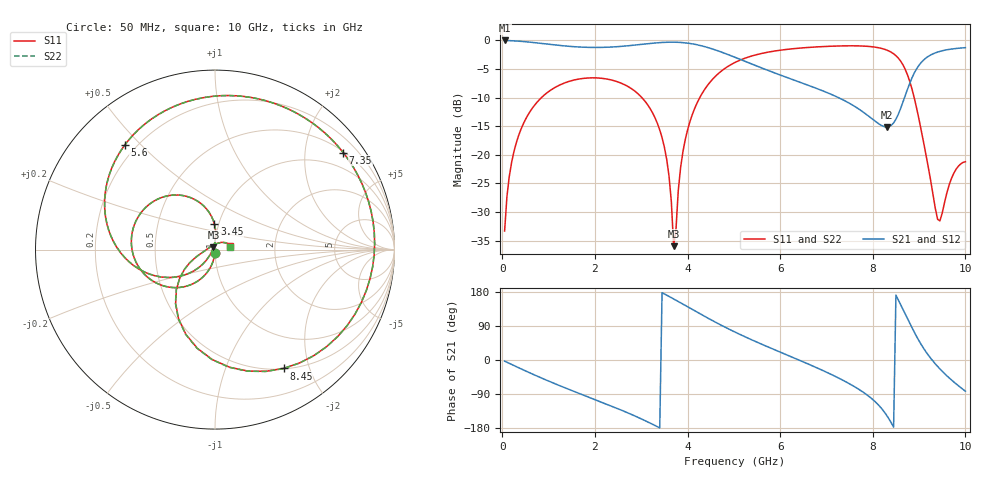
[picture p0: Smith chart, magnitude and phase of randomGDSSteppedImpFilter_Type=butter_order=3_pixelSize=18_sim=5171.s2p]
! freq	dB(S11)	phase(S11)	dB(S12)	phase(S12)
!  dB(S21)	phase(S21)	dB(S22)	phase(S22)
!S-par simulation data
#  GHz  S  DB  R 50
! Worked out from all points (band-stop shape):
!   200 points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, 50 MHz to 10 GHz, reference 50 ohm
!   highest |S21| = 0.00 dB at 50 MHz (marker M1); lowest = -15.1 dB at 8.3 GHz (marker M2)
!   |S21| within 3 dB of the highest: start of sweep to 5.042 GHz; 9.161 GHz to end of sweep
!   lowest |S11| = -36.0 dB at 3.7 GHz (marker M3), VSWR 1.03, Z = 49.1 + j1.31 ohm
!   |S11| at or under -10 dB: start of sweep to 845.2 MHz; 3.014 GHz to 4.265 GHz (1.25 GHz wide, 34.4 % of centre); 8.894 GHz to end of sweep
!   |S22| runs from -35.9 to -0.9 dB; largest |S21 - S12| = 0
!   S11 on the Smith chart (normalised r, x): 50 MHz: 1.00, -0.04; 3.45 GHz: 0.96, +0.28; 5.6 GHz: 0.16, +0.45; 7.35 GHz: 0.53, +2.89; 8.45 GHz: 0.51, -1.61; 10 GHz: 1.19, +0.04
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0.05  -33.33 -93.0  -0.00 -2.9  -0.00 -2.9  -33.33 -93.0
0.2  -21.37 -102.0  -0.05 -11.7  -0.05 -11.7  -21.37 -102.0
0.5  -13.82 -119.3  -0.23 -28.7  -0.23 -28.7  -13.82 -119.3
1.75  -6.64 177.1  -1.19 -92.5  -1.19 -92.5  -6.64 177.1
3.4  -15.65 93.6  -0.38 -179.2  -0.38 -179.2  -15.65 93.7
3.45  -17.00 91.2  -0.36 177.6  -0.36 177.6  -17.00 91.2
3.6  -23.69 87.3  -0.31 167.8  -0.31 167.8  -23.68 87.4
3.7  -35.97 122.8  -0.30 161.2  -0.30 161.2  -35.89 123.0
3.85  -22.26 -129.1  -0.35 151.0  -0.35 151.0  -22.26 -129.3
4.1  -13.03 -140.3  -0.59 133.7  -0.59 133.7  -13.03 -140.5
5.05  -3.75 160.9  -3.03 72.2  -3.03 72.2  -3.75 160.8
5.6  -2.28 130.9  -4.81 41.7  -4.81 41.7  -2.28 130.8
6.7  -1.17 74.2  -8.12 -15.6  -8.12 -15.6  -1.18 74.0
7.35  -0.95 37.1  -10.36 -53.1  -10.36 -53.1  -0.96 36.8
7.9  -1.04 -1.9  -13.17 -94.4  -13.17 -94.4  -1.04 -2.2
8.3  -1.68 -40.8  -15.14 -146.1  -15.14 -146.1  -1.68 -41.2
8.35  -1.85 -46.9  -15.08 -155.6  -15.08 -155.6  -1.86 -47.3
8.45  -2.34 -60.0  -14.41 -177.2  -14.41 -177.2  -2.34 -60.4
8.7  -5.05 -100.1  -9.67 121.7  -9.67 121.7  -5.06 -100.4
8.95  -11.95 -141.0  -4.92 61.2  -4.92 61.2  -11.94 -141.1
9.4  -31.28 138.5  -2.03 -17.1  -2.03 -17.1  -31.27 140.0
10  -21.20 12.1  -1.26 -82.3  -1.26 -82.3  -21.27 9.8
